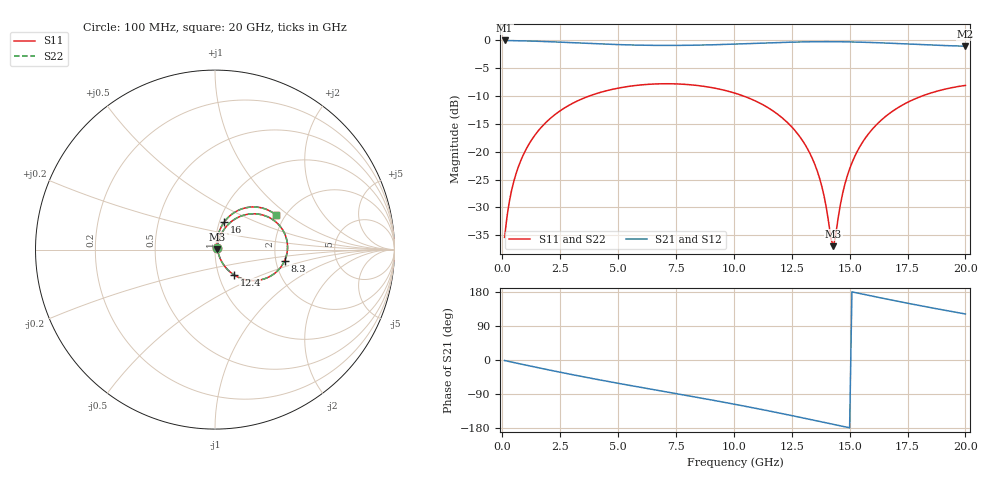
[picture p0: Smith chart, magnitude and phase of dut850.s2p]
! Touchstone file exported from HFSS 2026.1.0
!  File:  C:/ffzhzh/LocalFiles/Ansys_Project_Files/temp_train_TSV_RDL_850_1783269360_5512.aedt
!  Generated:  12:46:05 AM Jul  6, 2026
!  Design:  TSV_RDL
!  Project:  temp_train_TSV_RDL_850_1783269360_5512
! Variables:
!  h_bsmrdl = 5.59um
!  h_ox = 20um
!  h_rdl = 5um
!  h_sub = 99.2um
!  h_tmrdl = 2.91um
!  h_tsv = 99.2um
!  h_via = 3um
!  l_bsmrdl = 767.9um
!  l_sub = 3707.71um
!  l_tmrdl = 216.93um
!  m_sub = 200um
!  pitch = 52.32um
!  r_tsv = 13.62um
!  s_tmrdl = 10um
!  w_bsmrdl = 28.64um
!  w_sub = 500um
!  w_tmrdl = 16.79um
!  x_tsv_center1 = 225.325um
!  x_tsv_center2 = 1021.865um
!  x_tsv_center3 = 1255.585um
!  x_tsv_center4 = 2052.125um
!  x_tsv_center5 = 2285.845um
!  x_tsv_center6 = 3082.385um
# GHz S MA R 50.000000
! Terminal data exported
! Port[1] = TM_RDL1_1_T1
! Port[2] = TM_RDL5_1_T1
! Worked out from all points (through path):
!   200 points, 100 MHz to 20 GHz, reference 50 ohm
!   highest |S21| = -0.11 dB at 100 MHz (marker M1); lowest = -1.1 dB at 20 GHz (marker M2)
!   group delay of S21, straight-line fit = 32.9 ps
!   lowest |S11| = -36.9 dB at 14.3 GHz (marker M3), VSWR 1.03, Z = 51.4 + j0.349 ohm
!   |S11| at or under -10 dB: start of sweep to 3.795 GHz; 10.38 GHz to 18.17 GHz (7.787 GHz wide, 54.6 % of centre)
!   |S22| runs from -36.9 to -7.9 dB; largest |S21 - S12| = 1.7e-14
!   S11 on the Smith chart (normalised r, x): 100 MHz: 1.03, +0.02; 8.3 GHz: 2.23, -0.33; 12.4 GHz: 1.18, -0.34; 16 GHz: 1.05, +0.33; 20 GHz: 1.80, +0.81
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0.1  0.01707 39.8  0.9871 -1.4  0.9871 -1.4  0.01707 39.8
! Gamma 0 0 0 0
! Port Impedance 50 0 50 0
0.3  0.03529 62.0  0.9852 -4.1  0.9852 -4.1  0.03529 62.0
0.5  0.05438 67.0  0.9834 -6.7  0.9834 -6.7  0.05438 67.0
1.1  0.1117 66.8  0.9771 -14.6  0.9771 -14.6  0.1117 66.8
2.1  0.2003 57.3  0.9607 -27.3  0.9607 -27.3  0.2003 57.3
3.5  0.2995 41.7  0.9325 -44.3  0.9325 -44.3  0.2995 41.7
5.1  0.3727 24.4  0.9051 -62.6  0.9051 -62.6  0.3727 24.4
6.8  0.4039 6.6  0.8913 -81.1  0.8913 -81.1  0.4039 6.6
8.3  0.3928 -9.1  0.8952 -97.3  0.8952 -97.3  0.3928 -9.1
10.1  0.3307 -28.3  0.9168 -117.5  0.9168 -117.5  0.3307 -28.3
12.4  0.1747 -53.3  0.9521 -145.4  0.9521 -145.4  0.1747 -53.3
13.4  0.08575 -60.9  0.961 -158.2  0.961 -158.2  0.08576 -60.9
13.8  0.04879 -58.6  0.9623 -163.4  0.9623 -163.4  0.04881 -58.6
14.2  0.01639 -20.8  0.9623 -168.6  0.9623 -168.6  0.01641 -20.8
14.3  0.01424 13.8  0.9621 -169.9  0.9621 -169.9  0.01425 13.7
14.6  0.03344 69.3  0.9609 -173.7  0.9609 -173.7  0.03344 69.3
14.9  0.06067 77.1  0.9589 -177.6  0.9589 -177.6  0.06066 77.0
15.4  0.1068 76.7  0.954 175.9  0.954 175.9  0.1068 76.6
16  0.1603 71.8  0.9457 168.3  0.9457 168.3  0.1603 71.7
16.7  0.2179 64.6  0.9336 159.6  0.9336 159.6  0.2179 64.6
18.2  0.3181 48.3  0.9046 141.6  0.9046 141.6  0.3181 48.3
20  0.3909 29.3  0.8767 121.4  0.8767 121.4  0.391 29.3
